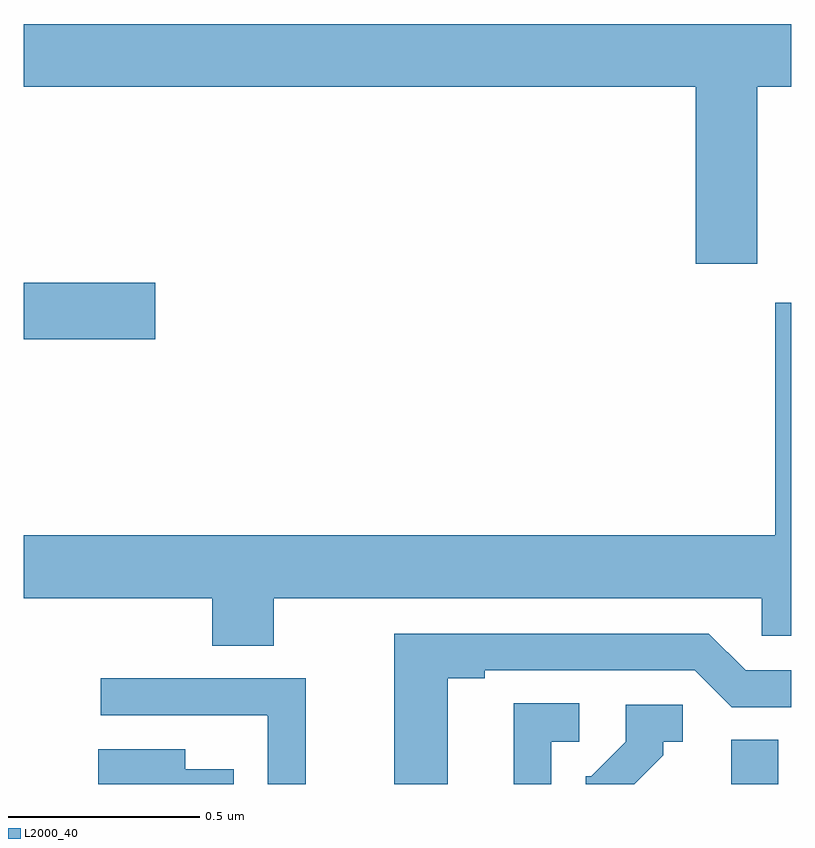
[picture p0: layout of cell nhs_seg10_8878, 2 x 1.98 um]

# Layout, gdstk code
import gdstk
lib = gdstk.Library(unit=1e-6, precision=1e-09)
def R(c, l, rs):  # rectangles x0, y0, x1, y1
    for r in rs: c.add(gdstk.rectangle(r[:2], r[2:], *l))
def P(c, l, *ps):  # polygons
    for p in ps: c.add(gdstk.Polygon(p, *l))
L2000_40 = (2000, 40)

nhs_seg10_8878 = lib.new_cell('nhs_seg10_8878')
R(nhs_seg10_8878, L2000_40, [(223.844,1298.5,223.966,1298.615), (222,1299.659,222.343,1299.806)])
P(nhs_seg10_8878, L2000_40, [(223.911,1300.316),(224,1300.316),(224,1300.48),(222,1300.48),(222,1300.316),(223.751,1300.316),(223.751,1299.855),(223.911,1299.855)],
  [(222.651,1298.984),(223.923,1298.984),(223.923,1298.886),(224,1298.886),(224,1299.754),(223.958,1299.754),(223.958,1299.148),(222,1299.148),(222,1298.984),(222.491,1298.984),(222.491,1298.86),(222.651,1298.86)],
  [(223.105,1298.776),(223.201,1298.776),(223.201,1298.796),(223.749,1298.796),(223.845,1298.7),(224,1298.7),(224,1298.796),(223.881,1298.796),(223.785,1298.892),(222.965,1298.892),(222.965,1298.5),(223.105,1298.5)],
  [(222.735,1298.775),(222.201,1298.775),(222.201,1298.679),(222.635,1298.679),(222.635,1298.678),(222.636,1298.678),(222.636,1298.5),(222.735,1298.5)],
  [(223.374,1298.61),(223.447,1298.61),(223.447,1298.711),(223.277,1298.711),(223.277,1298.5),(223.374,1298.5)],
  [(223.666,1298.575),(223.666,1298.61),(223.717,1298.61),(223.717,1298.706),(223.569,1298.706),(223.569,1298.61),(223.479,1298.52),(223.464,1298.52),(223.464,1298.5),(223.591,1298.5)],
  [(222.547,1298.539),(222.421,1298.539),(222.421,1298.59),(222.194,1298.59),(222.194,1298.5),(222.547,1298.5)])

lib.write_gds('nhs_seg10_8878.gds')
